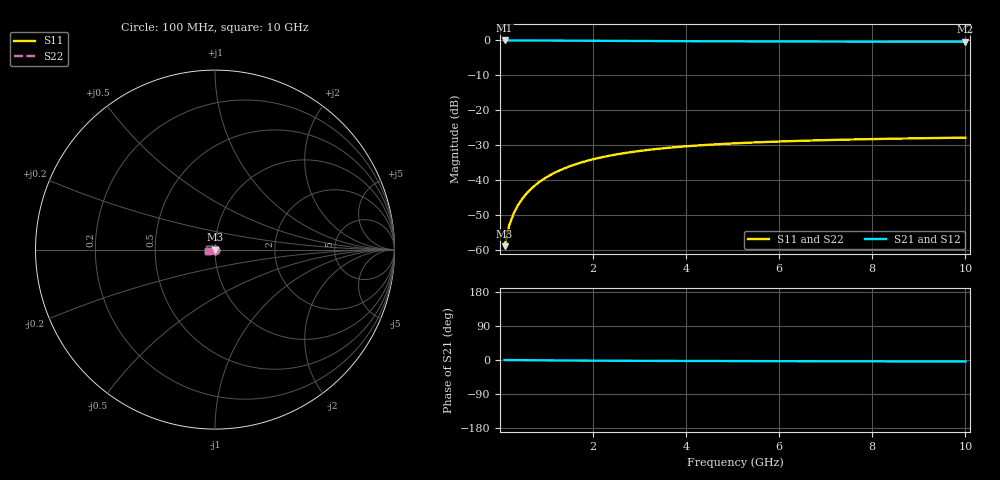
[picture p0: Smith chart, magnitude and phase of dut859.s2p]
! Touchstone file exported from HFSS 2024.1.0
!  File:  C:/UserFiles/LocalFiles/RDL_TSV_Batchsim/temp_TSV1_859_1779881674.aedt
!  Generated:  07:40:55 PM May 27, 2026
!  Design:  TSV1
!  Project:  temp_TSV1_859_1779881674
!  Setup:  Setup1
!  Solution:  Sweep
! Variables:
!  dtsv = 12.41um
!  hbump = 3um
!  htsv = 60.44um
!  lrdl = 252.1521522um
!  p = 40
!  p1 = 49.48um
!  t = 500um
!  trdl = 3um
!  wrdl = 24.89489489um
# GHz S MA R 50.000000
! Terminal data exported
! Port[1] = TSV22_T1
! Port[2] = TSV22_T2
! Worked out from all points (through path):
!   100 points, 100 MHz to 10 GHz, reference 50 ohm
!   highest |S21| = 0.00 dB at 100 MHz (marker M1); lowest = -0.4 dB at 10 GHz (marker M2)
!   lowest |S11| = -58.8 dB at 100 MHz (marker M3), VSWR 1.00, Z = 50 - j0.114 ohm
!   |S11| at or under -10 dB: start of sweep to end of sweep
!   |S22| runs from -58.8 to -27.8 dB; largest |S21 - S12| = 4.7e-15
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0.1  0.001142 -87.7  0.9999 -0.1  0.9999 -0.1  0.001142 -87.7
! Gamma 0 0 0 0
! Port Impedance 50 0 50 0
0.2  0.00228 -91.3  0.9998 -0.2  0.9998 -0.2  0.00228 -91.3
0.3  0.003418 -93.6  0.9996 -0.3  0.9996 -0.3  0.003418 -93.6
0.4  0.004552 -95.6  0.9993 -0.4  0.9993 -0.4  0.004552 -95.6
0.5  0.005677 -97.5  0.999 -0.5  0.999 -0.5  0.005677 -97.5
0.6  0.006789 -99.3  0.9986 -0.6  0.9986 -0.6  0.006789 -99.3
0.7  0.007885 -101.1  0.9982 -0.7  0.9982 -0.7  0.007885 -101.1
0.8  0.008963 -102.8  0.9977 -0.8  0.9977 -0.8  0.008963 -102.8
0.9  0.01002 -104.5  0.9972 -0.9  0.9972 -0.9  0.01002 -104.5
1.1  0.01207 -107.8  0.996 -1.1  0.996 -1.1  0.01207 -107.8
1.4  0.01495 -112.6  0.994 -1.3  0.994 -1.3  0.01495 -112.6
1.6  0.01673 -115.5  0.9925 -1.5  0.9925 -1.5  0.01673 -115.5
1.8  0.0184 -118.3  0.991 -1.6  0.991 -1.6  0.0184 -118.3
2.1  0.02071 -122.3  0.9887 -1.8  0.9887 -1.8  0.02071 -122.3
2.5  0.02341 -127.2  0.9856 -2.0  0.9856 -2.0  0.02341 -127.2
2.9  0.02574 -131.6  0.9827 -2.2  0.9827 -2.2  0.02574 -131.6
3.4  0.0282 -136.4  0.9794 -2.4  0.9794 -2.4  0.0282 -136.4
4.2  0.03129 -143.0  0.9748 -2.6  0.9748 -2.6  0.03129 -143.0
5.1  0.03389 -149.1  0.9707 -2.9  0.9707 -2.9  0.03389 -149.1
6.7  0.03707 -157.7  0.9653 -3.3  0.9653 -3.3  0.03707 -157.7
8.4  0.03928 -164.7  0.9615 -3.7  0.9615 -3.7  0.03928 -164.7
10  0.04075 -170.1  0.959 -4.1  0.959 -4.1  0.04075 -170.1
